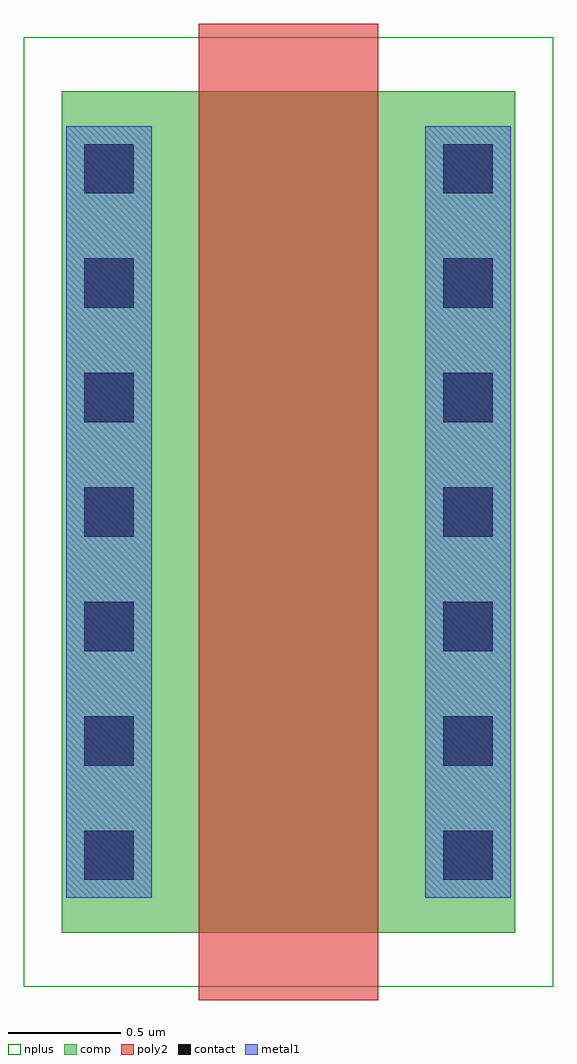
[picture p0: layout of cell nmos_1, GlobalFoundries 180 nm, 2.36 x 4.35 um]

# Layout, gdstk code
import gdstk
lib = gdstk.Library(unit=1e-6, precision=5e-09)
def R(c, l, rs):  # rectangles x0, y0, x1, y1
    for r in rs: c.add(gdstk.rectangle(r[:2], r[2:], *l))
comp = (22, 0)
poly2 = (30, 0)
nplus = (32, 0)
contact = (33, 0)
metal1 = (34, 0)

nmos_1 = lib.new_cell('nmos_1')
R(nmos_1, comp, [(0.08,0.305,0.5,4.055), (0.08,0.305,0.5,4.055), (0.5,0.305,1.68,4.055), (0.5,0.305,1.68,4.055), (1.68,0.305,2.1,4.055), (1.68,0.305,2.1,4.055)])
R(nmos_1, poly2, [(0.69,0.005,1.49,4.355), (0.69,0.005,1.49,4.355)])
R(nmos_1, nplus, [(-0.09,0.065,2.27,4.295), (-0.09,0.065,2.27,4.295)])
R(nmos_1, contact, [(0.18,0.54,0.4,0.76), (0.18,0.54,0.4,0.76), (1.78,0.54,2,0.76), (1.78,0.54,2,0.76), (0.18,1.05,0.4,1.27), (0.18,1.05,0.4,1.27), (1.78,1.05,2,1.27), (1.78,1.05,2,1.27), (0.18,1.56,0.4,1.78), (0.18,1.56,0.4,1.78), (1.78,1.56,2,1.78), (1.78,1.56,2,1.78), (0.18,2.07,0.4,2.29), (0.18,2.07,0.4,2.29), (1.78,2.07,2,2.29), (1.78,2.07,2,2.29), (0.18,2.58,0.4,2.8), (0.18,2.58,0.4,2.8), (1.78,2.58,2,2.8), (1.78,2.58,2,2.8), (0.18,3.09,0.4,3.31), (0.18,3.09,0.4,3.31), (1.78,3.09,2,3.31), (1.78,3.09,2,3.31), (0.18,3.6,0.4,3.82), (0.18,3.6,0.4,3.82), (1.78,3.6,2,3.82), (1.78,3.6,2,3.82)])
R(nmos_1, metal1, [(0.1,0.46,0.48,3.9), (0.1,0.46,0.48,3.9), (1.7,0.46,2.08,3.9), (1.7,0.46,2.08,3.9)])

lib.write_gds('nmos_1.gds')
